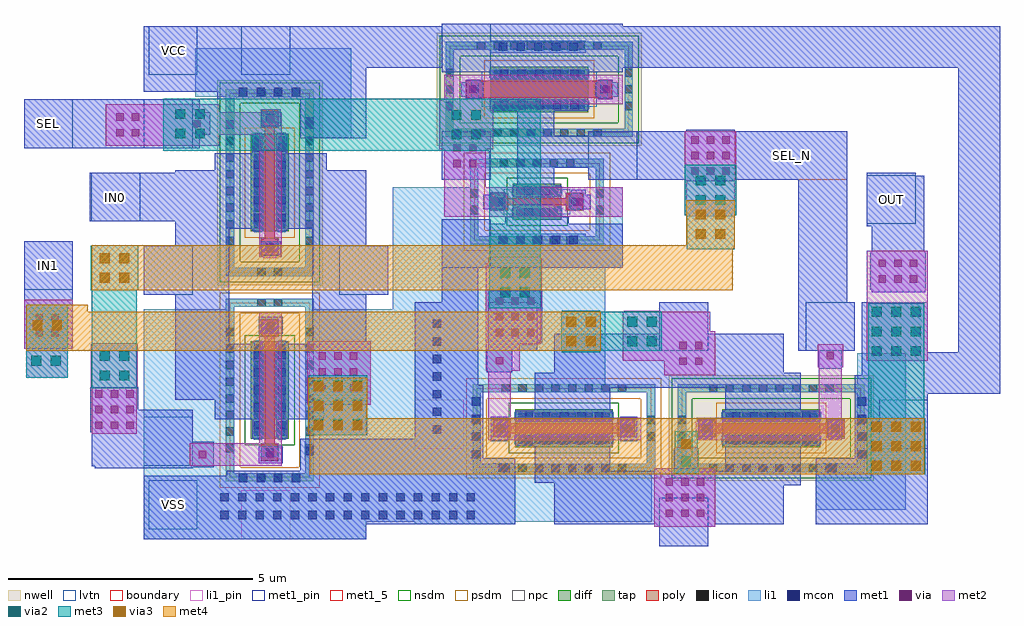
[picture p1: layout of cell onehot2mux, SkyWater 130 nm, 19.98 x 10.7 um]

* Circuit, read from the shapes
.subckt onehot2mux IN0 IN1 OUT SEL SEL_N VCC VSS
XM1 OUT SEL_N IN0 VSS sky130_fd_pr__nfet_01v8 w=2 l=0.2
XM2 SEL_N SEL VSS VSS sky130_fd_pr__nfet_01v8_lvt w=1 l=0.15
XM3 IN1 SEL OUT VSS sky130_fd_pr__nfet_01v8 w=2 l=0.2
XM4 OUT SEL IN0 VCC sky130_fd_pr__pfet_01v8 w=2 l=0.2
XM5 VCC SEL SEL_N VCC sky130_fd_pr__pfet_01v8_lvt w=2 l=0.35
XM6 IN1 SEL_N OUT VCC sky130_fd_pr__pfet_01v8 w=2 l=0.2
.ends

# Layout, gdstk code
from math import pi, radians
import gdstk
lib = gdstk.Library(unit=1e-6, precision=1e-09)
def R(c, l, rs):  # rectangles x0, y0, x1, y1
    for r in rs: c.add(gdstk.rectangle(r[:2], r[2:], *l))
def A(c, l, x, y, w, h, nx, ny, dx, dy):  # array of equal rectangles
    R(c, l, [(x+i*dx, y+j*dy, x+i*dx+w, y+j*dy+h) for i in range(nx) for j in range(ny)])
nwell = (64, 20)
diff = (65, 20)
tap = (65, 44)
poly = (66, 20)
licon = (66, 44)
li1_pin = (67, 16)
li1 = (67, 20)
mcon = (67, 44)
met1_5 = (68, 5)
met1_pin = (68, 16)
met1 = (68, 20)
via = (68, 44)
met2 = (69, 20)
via2 = (69, 44)
met3 = (70, 20)
via3 = (70, 44)
met4 = (71, 20)
nsdm = (93, 44)
psdm = (94, 20)
npc = (95, 20)
lvtn = (125, 44)
boundary = (235, 4)

sky130_fd_pr__pfet_01v8_ = lib.new_cell('sky130_fd_pr__pfet_01v8_SKB8XJ')
R(sky130_fd_pr__pfet_01v8_, nwell, [(-1.08,-2.095,1.08,2.095)])
R(sky130_fd_pr__pfet_01v8_, diff, [(-0.39,-1,0.39,1)])
R(sky130_fd_pr__pfet_01v8_, tap, [(-0.9,-1.915,0.9,-1.745), (-0.9,-1.745,-0.73,1.745), (0.73,-1.745,0.9,1.745), (-0.9,1.745,0.9,1.915)])
R(sky130_fd_pr__pfet_01v8_, poly, [(-0.165,-1.485,0.165,-1.155), (-0.1,-1.155,0.1,1.155), (-0.165,1.155,0.165,1.485)])
A(sky130_fd_pr__pfet_01v8_, licon, -0.9, -1.275, 0.17, 0.17, 1, 8, 0, 0.34)
A(sky130_fd_pr__pfet_01v8_, licon, 0.73, -1.275, 0.17, 0.17, 1, 8, 0, 0.34)
A(sky130_fd_pr__pfet_01v8_, licon, -0.33, -0.935, 0.17, 0.17, 1, 6, 0, 0.34)
A(sky130_fd_pr__pfet_01v8_, licon, 0.16, -0.935, 0.17, 0.17, 1, 6, 0, 0.34)
R(sky130_fd_pr__pfet_01v8_, licon, [(-0.255,-1.915,-0.085,-1.745), (0.085,-1.915,0.255,-1.745), (-0.085,-1.405,0.085,-1.235), (-0.085,1.235,0.085,1.405), (-0.255,1.745,-0.085,1.915), (0.085,1.745,0.255,1.915)])
R(sky130_fd_pr__pfet_01v8_, li1, [(-0.9,-1.915,0.9,-1.745), (-0.9,-1.745,-0.73,1.745), (0.73,-1.745,0.9,1.745), (-0.165,-1.405,0.165,-1.235), (-0.33,-1.02,-0.16,1.02), (0.16,-1.02,0.33,1.02), (-0.165,1.235,0.165,1.405), (-0.9,1.745,0.9,1.915)])
A(sky130_fd_pr__pfet_01v8_, mcon, -0.33, -0.805, 0.17, 0.17, 1, 5, 0, 0.36)
A(sky130_fd_pr__pfet_01v8_, mcon, 0.16, -0.805, 0.17, 0.17, 1, 5, 0, 0.36)
R(sky130_fd_pr__pfet_01v8_, mcon, [(-0.085,-1.405,0.085,-1.235), (-0.085,1.235,0.085,1.405)])
R(sky130_fd_pr__pfet_01v8_, met1, [(-0.145,-1.435,0.145,-1.205), (-0.36,-1,-0.13,1), (0.13,-1,0.36,1), (-0.145,1.205,0.145,1.435)])
R(sky130_fd_pr__pfet_01v8_, nsdm, [(-1.025,-2.04,1.025,-1.62), (-1.025,-1.62,-0.605,1.62), (0.605,-1.62,1.025,1.62), (-1.025,1.62,1.025,2.04)])
R(sky130_fd_pr__pfet_01v8_, psdm, [(-0.515,-1.125,0.515,1.125)])
R(sky130_fd_pr__pfet_01v8_, npc, [(-0.185,-1.505,0.185,-1.135), (-0.185,1.135,0.185,1.505)])
R(sky130_fd_pr__pfet_01v8_, boundary, [(-0.815,-1.83,0.815,1.83)])

sky130_fd_pr__nfet_01v8_ = lib.new_cell('sky130_fd_pr__nfet_01v8_Q7AWK3')
R(sky130_fd_pr__nfet_01v8_, diff, [(-0.39,-1,0.39,1)])
R(sky130_fd_pr__nfet_01v8_, tap, [(-0.9,-1.87,0.9,-1.7), (-0.9,-1.7,-0.73,1.7), (0.73,-1.7,0.9,1.7), (-0.9,1.7,0.9,1.87)])
R(sky130_fd_pr__nfet_01v8_, poly, [(-0.165,-1.44,0.165,-1.11), (-0.1,-1.11,0.1,1.11), (-0.165,1.11,0.165,1.44)])
A(sky130_fd_pr__nfet_01v8_, licon, -0.9, -1.275, 0.17, 0.17, 1, 8, 0, 0.34)
A(sky130_fd_pr__nfet_01v8_, licon, 0.73, -1.275, 0.17, 0.17, 1, 8, 0, 0.34)
A(sky130_fd_pr__nfet_01v8_, licon, -0.33, -0.935, 0.17, 0.17, 1, 6, 0, 0.34)
A(sky130_fd_pr__nfet_01v8_, licon, 0.16, -0.935, 0.17, 0.17, 1, 6, 0, 0.34)
R(sky130_fd_pr__nfet_01v8_, licon, [(-0.255,-1.87,-0.085,-1.7), (0.085,-1.87,0.255,-1.7), (-0.085,-1.36,0.085,-1.19), (-0.085,1.19,0.085,1.36), (-0.255,1.7,-0.085,1.87), (0.085,1.7,0.255,1.87)])
R(sky130_fd_pr__nfet_01v8_, li1, [(-0.9,-1.87,0.9,-1.7), (-0.9,-1.7,-0.73,1.7), (0.73,-1.7,0.9,1.7), (-0.165,-1.36,0.165,-1.19), (-0.33,-1.02,-0.16,1.02), (0.16,-1.02,0.33,1.02), (-0.165,1.19,0.165,1.36), (-0.9,1.7,0.9,1.87)])
A(sky130_fd_pr__nfet_01v8_, mcon, -0.33, -0.805, 0.17, 0.17, 1, 5, 0, 0.36)
A(sky130_fd_pr__nfet_01v8_, mcon, 0.16, -0.805, 0.17, 0.17, 1, 5, 0, 0.36)
R(sky130_fd_pr__nfet_01v8_, mcon, [(-0.085,-1.36,0.085,-1.19), (-0.085,1.19,0.085,1.36)])
R(sky130_fd_pr__nfet_01v8_, met1, [(-0.145,-1.39,0.145,-1.16), (-0.36,-1,-0.13,1), (0.13,-1,0.36,1), (-0.145,1.16,0.145,1.39)])
R(sky130_fd_pr__nfet_01v8_, nsdm, [(-0.515,-1.125,0.515,1.125)])
R(sky130_fd_pr__nfet_01v8_, psdm, [(-1.025,-1.995,1.025,-1.575), (-1.025,-1.575,-0.605,1.575), (0.605,-1.575,1.025,1.575), (-1.025,1.575,1.025,1.995)])
R(sky130_fd_pr__nfet_01v8_, npc, [(-0.185,-1.46,0.185,-1.09), (-0.185,1.09,0.185,1.46)])
R(sky130_fd_pr__nfet_01v8_, boundary, [(-0.815,-1.785,0.815,1.785)])

passgate = lib.new_cell('passgate')
R(passgate, li1_pin, [(13,-3.5,14,-2.5)])
R(passgate, li1, [(11,-3.5,15.55,-2.2), (12.3,-2.2,12.8,-1.15), (12.95,-2.2,14.2,-2.15), (14.35,-2.2,15.55,-1.9), (14.3,-1.9,15.55,-1.5), (14.35,-1.5,15.55,-1.45), (14.35,-1.45,14.85,-1.15), (14.4,4.7,15.25,4.85), (14.3,4.85,15.25,5.25), (14.4,5.25,15.25,5.55), (12.05,5.55,15.25,6.55)])
A(passgate, mcon, 12.95, -2.335, 0.17, 0.17, 4, 2, 0.36, 7.9)
R(passgate, mcon, [(14.315,-1.785,14.485,-1.615), (14.315,4.965,14.485,5.135)])
R(passgate, met1_pin, [(11,-2,12,-1), (11,1.5,12,2.5), (15,1.5,16,2.5), (11,4.5,12,5.5), (13,6,14,7)])
R(passgate, met1, [(11,-3.5,15.55,-2.2), (12.7,-2.2,15.55,-2.1), (14.2,-2.1,15.55,-1.45), (11.97,-2.03,12.435,-2), (11,-2,12.435,-1.505), (13.35,-1.95,13.85,-1.6), (11,-1.505,12,-1), (12.45,-1.05,13.45,-0.65), (13.7,-1.05,14.7,-0.65), (11.65,-0.65,13.45,0.5), (13.7,-0.65,15.55,0.5), (11.65,0.5,12.75,1.5), (14.45,0.5,15.55,1.5), (13.35,0.7,13.85,1.05), (11,1.5,12.75,2.5), (14.45,1.5,16,2.5), (13.4,2.3,13.8,2.6), (11.65,2.5,12.75,2.85), (14.45,2.5,15.55,2.85), (11.65,2.85,13.45,4.05), (13.75,2.85,15.55,4.05), (12.45,4.05,13.45,4.4), (13.75,4.05,14.75,4.4), (11,4.5,12,4.77), (14.2,4.7,15.55,5.5), (11,4.77,12.36,5.235), (13.4,4.95,13.8,5.25), (11,5.235,12,5.5), (12.5,5.5,15.55,5.65), (11,5.65,15.55,7)])
R(passgate, via, [(13.525,-1.85,13.675,-1.7), (12.125,-1.845,12.275,-1.695), (13.525,0.8,13.675,0.95), (13.525,2.375,13.675,2.525), (12.02,4.925,12.17,5.075), (13.525,5.025,13.675,5.175)])
R(passgate, met2, [(11.94,-2,13.83,-1.535), (13.365,-1.535,13.83,1.13), (13.45,2.25,13.75,2.27), (13.365,2.27,13.83,4.77), (11.865,4.74,12.33,4.77), (11.865,4.77,13.83,5.235), (11.865,5.235,12.33,5.265), (13.4,5.235,13.8,5.3)])
passgate.add(gdstk.Reference(sky130_fd_pr__pfet_01v8_, (13.58,3.795), rotation=pi))
passgate.add(gdstk.Reference(sky130_fd_pr__nfet_01v8_, (13.58,-0.45)))
passgate.add(gdstk.Label('A', (11.5,2), layer=68, texttype=5))
passgate.add(gdstk.Label('Z', (15.5,2), layer=68, texttype=5))
passgate.add(gdstk.Label('GP', (11.5,5), layer=68, texttype=5))
passgate.add(gdstk.Label('GN', (11.5,-1.5), layer=68, texttype=5))
passgate.add(gdstk.Label('VCCBPIN', (13.5,6.5), layer=68, texttype=5))
passgate.add(gdstk.Label('VSSBPIN', (13.5,-3), layer=67, texttype=5))

c_sky130_fd_pr__pfet_01v8_ = lib.new_cell('sky130_fd_pr__pfet_01v8_lvt_4QFWD3')
R(c_sky130_fd_pr__pfet_01v8_, nwell, [(-1.155,-2.095,1.155,2.095)])
R(c_sky130_fd_pr__pfet_01v8_, diff, [(-0.465,-1,0.465,1)])
R(c_sky130_fd_pr__pfet_01v8_, tap, [(-0.975,-1.915,0.975,-1.745), (-0.975,-1.745,-0.805,1.745), (0.805,-1.745,0.975,1.745), (-0.975,1.745,0.975,1.915)])
R(c_sky130_fd_pr__pfet_01v8_, poly, [(-0.175,-1.485,0.175,1.485)])
A(c_sky130_fd_pr__pfet_01v8_, licon, -0.425, -1.915, 0.17, 0.17, 3, 2, 0.34, 3.66)
A(c_sky130_fd_pr__pfet_01v8_, licon, -0.975, -1.275, 0.17, 0.17, 1, 8, 0, 0.34)
A(c_sky130_fd_pr__pfet_01v8_, licon, 0.805, -1.275, 0.17, 0.17, 1, 8, 0, 0.34)
A(c_sky130_fd_pr__pfet_01v8_, licon, -0.405, -0.935, 0.17, 0.17, 1, 6, 0, 0.34)
A(c_sky130_fd_pr__pfet_01v8_, licon, 0.235, -0.935, 0.17, 0.17, 1, 6, 0, 0.34)
R(c_sky130_fd_pr__pfet_01v8_, licon, [(-0.085,-1.405,0.085,-1.235), (-0.085,1.235,0.085,1.405)])
R(c_sky130_fd_pr__pfet_01v8_, li1, [(-0.975,-1.915,0.975,-1.745), (-0.975,-1.745,-0.805,1.745), (0.805,-1.745,0.975,1.745), (-0.175,-1.405,0.175,-1.235), (-0.405,-1.02,-0.235,1.02), (0.235,-1.02,0.405,1.02), (-0.175,1.235,0.175,1.405), (-0.975,1.745,0.975,1.915)])
A(c_sky130_fd_pr__pfet_01v8_, mcon, -0.405, -0.805, 0.17, 0.17, 1, 5, 0, 0.36)
A(c_sky130_fd_pr__pfet_01v8_, mcon, 0.235, -0.805, 0.17, 0.17, 1, 5, 0, 0.36)
R(c_sky130_fd_pr__pfet_01v8_, mcon, [(-0.085,-1.405,0.085,-1.235), (-0.085,1.235,0.085,1.405)])
R(c_sky130_fd_pr__pfet_01v8_, met1, [(-0.155,-1.435,0.155,-1.205), (-0.435,-1,-0.205,1), (0.205,-1,0.435,1), (-0.155,1.205,0.155,1.435)])
R(c_sky130_fd_pr__pfet_01v8_, nsdm, [(-1.1,-2.04,1.1,-1.62), (-1.1,-1.62,-0.68,1.62), (0.68,-1.62,1.1,1.62), (-1.1,1.62,1.1,2.04)])
R(c_sky130_fd_pr__pfet_01v8_, psdm, [(-0.59,-1.125,0.59,1.125)])
R(c_sky130_fd_pr__pfet_01v8_, npc, [(-0.185,-1.505,0.185,-1.135), (-0.185,1.135,0.185,1.505)])
R(c_sky130_fd_pr__pfet_01v8_, lvtn, [(-0.355,-1.18,0.355,1.18)])
R(c_sky130_fd_pr__pfet_01v8_, boundary, [(-0.89,-1.83,0.89,1.83)])

c_sky130_fd_pr__nfet_01v8_ = lib.new_cell('sky130_fd_pr__nfet_01v8_lvt_648S5X')
R(c_sky130_fd_pr__nfet_01v8_, diff, [(-0.365,-0.5,0.365,0.5)])
R(c_sky130_fd_pr__nfet_01v8_, tap, [(-0.875,-1.37,0.875,-1.2), (-0.875,-1.2,-0.705,1.2), (0.705,-1.2,0.875,1.2), (-0.875,1.2,0.875,1.37)])
R(c_sky130_fd_pr__nfet_01v8_, poly, [(-0.165,-0.94,0.165,-0.61), (-0.075,-0.61,0.075,0.61), (-0.165,0.61,0.165,0.94)])
A(c_sky130_fd_pr__nfet_01v8_, licon, -0.875, -0.765, 0.17, 0.17, 1, 5, 0, 0.34)
A(c_sky130_fd_pr__nfet_01v8_, licon, 0.705, -0.765, 0.17, 0.17, 1, 5, 0, 0.34)
A(c_sky130_fd_pr__nfet_01v8_, licon, -0.305, -0.425, 0.17, 0.17, 1, 3, 0, 0.34)
A(c_sky130_fd_pr__nfet_01v8_, licon, 0.135, -0.425, 0.17, 0.17, 1, 3, 0, 0.34)
R(c_sky130_fd_pr__nfet_01v8_, licon, [(-0.255,-1.37,-0.085,-1.2), (0.085,-1.37,0.255,-1.2), (-0.085,-0.86,0.085,-0.69), (-0.085,0.69,0.085,0.86), (-0.255,1.2,-0.085,1.37), (0.085,1.2,0.255,1.37)])
R(c_sky130_fd_pr__nfet_01v8_, li1, [(-0.875,-1.37,0.875,-1.2), (-0.875,-1.2,-0.705,1.2), (0.705,-1.2,0.875,1.2), (-0.165,-0.86,0.165,-0.69), (-0.305,-0.52,-0.135,0.52), (0.135,-0.52,0.305,0.52), (-0.165,0.69,0.165,0.86), (-0.875,1.2,0.875,1.37)])
R(c_sky130_fd_pr__nfet_01v8_, mcon, [(-0.085,-0.86,0.085,-0.69), (-0.305,-0.265,-0.135,-0.095), (0.135,-0.265,0.305,-0.095), (-0.305,0.095,-0.135,0.265), (0.135,0.095,0.305,0.265), (-0.085,0.69,0.085,0.86)])
R(c_sky130_fd_pr__nfet_01v8_, met1, [(-0.145,-0.89,0.145,-0.66), (-0.335,-0.5,-0.105,0.5), (0.105,-0.5,0.335,0.5), (-0.145,0.66,0.145,0.89)])
R(c_sky130_fd_pr__nfet_01v8_, nsdm, [(-0.49,-0.625,0.49,0.625)])
R(c_sky130_fd_pr__nfet_01v8_, psdm, [(-1,-1.495,1,-1.075), (-1,-1.075,-0.58,1.075), (0.58,-1.075,1,1.075), (-1,1.075,1,1.495)])
R(c_sky130_fd_pr__nfet_01v8_, npc, [(-0.185,-0.96,0.185,-0.59), (-0.185,0.59,0.185,0.96)])
R(c_sky130_fd_pr__nfet_01v8_, lvtn, [(-0.255,-0.68,0.255,0.68)])
R(c_sky130_fd_pr__nfet_01v8_, boundary, [(-0.79,-1.285,0.79,1.285)])

lvtnot = lib.new_cell('lvtnot')
R(lvtnot, li1, [(7.1,1.7,10.8,2.3), (7.1,2.3,7.8,3.35), (8.1,2.3,10.05,2.4), (10.35,2.3,10.8,3.35), (8.1,6.1,10.05,6.35)])
A(lvtnot, mcon, 8.27, 2.19, 0.17, 0.17, 5, 2, 0.36, 3.95)
R(lvtnot, met1_pin, [(7.1,1.7,8.1,2.7), (7.1,3.5,8.1,4.5), (10.1,3.5,11.1,4.5), (7.1,5.7,8.1,6.7)])
R(lvtnot, met1, [(7.1,1.7,10.8,2.6), (7.1,2.6,8.1,2.7), (8.4,2.6,9.7,2.75), (8.55,2.75,9.5,2.8), (8.6,2.8,9.5,2.9), (7.95,2.9,8.4,3.2), (8.7,2.9,9.4,3), (9.7,2.9,10.15,3.2), (8.65,3.15,9.4,3.75), (8.1,3.2,8.4,3.25), (9.75,3.2,10.05,3.3), (7.1,3.5,8.1,4.5), (10.1,3.5,11.1,3.75), (8.65,3.75,11.1,4.4), (8.65,4.4,9.4,5.15), (10.1,4.4,11.1,4.5), (7.6,5.15,7.9,5.2), (10.3,5.15,10.6,5.2), (7.5,5.2,7.95,5.5), (10.25,5.2,10.7,5.5), (7.6,5.5,7.9,5.55), (10.3,5.5,10.6,5.55), (7.1,5.7,10.8,6.7)])
R(lvtnot, via, [(8.1,2.975,8.25,3.125), (9.85,2.975,10,3.125), (7.34,3.765,7.49,3.915), (7.66,3.765,7.81,3.915), (7.34,4.085,7.49,4.235), (7.66,4.085,7.81,4.235), (7.65,5.275,7.8,5.425), (10.4,5.275,10.55,5.425)])
R(lvtnot, met2, [(7.15,2.75,10.8,3.35), (7.15,3.35,8,5.05), (7.15,5.05,10.8,5.65)])
lvtnot.add(gdstk.Reference(c_sky130_fd_pr__pfet_01v8_, (9.095,5.355), rotation=3*pi/2))
lvtnot.add(gdstk.Reference(c_sky130_fd_pr__nfet_01v8_, (9.05,3.055), rotation=pi/2))
lvtnot.add(gdstk.Label('a', (7.6,4), layer=68, texttype=5))
lvtnot.add(gdstk.Label('y', (10.6,4), layer=68, texttype=5))
lvtnot.add(gdstk.Label('VCCPIN', (7.6,6.2), layer=68, texttype=5))
lvtnot.add(gdstk.Label('VSSPIN', (7.6,2.2), layer=68, texttype=5))

onehot2mux = lib.new_cell('onehot2mux')
R(onehot2mux, li1, [(-0.3,9.4,10.1,10.3), (-0.3,10.3,1.45,13.75), (3.1,10.3,10.1,10.55), (3.1,10.55,6.5,12.1), (3.1,12.1,9.15,13.75), (4.8,13.75,9.15,15.2), (4.8,15.2,6.5,16.25)])
A(onehot2mux, mcon, 1.27, 9.46, 0.17, 0.17, 15, 2, 0.36, 0.36)
A(onehot2mux, mcon, 5.615, 11.21, 0.17, 0.17, 1, 7, 0, 0.36)
R(onehot2mux, met1_5, [(11.8,16.4,14.1,17.4)])
R(onehot2mux, met1_pin, [(-0.2,9.25,0.8,10.25), (-2.75,14.15,-1.75,15.15), (14.5,15.5,15.5,16.5), (-1.37,15.55,-0.37,16.55), (-2.75,17.05,-1.75,18.05), (-0.2,18.55,0.8,19.55)])
R(onehot2mux, met1, [(-0.2,9.25,0.8,10.25), (10.15,9.3,11.4,10.5), (3.95,9.35,6.35,9.45), (1.15,9.45,6.6,10), (3.95,10,6.35,11.1), (14.675,10.075,15.525,12.025), (-1.3,10.5,0.7,10.54), (-1.36,10.54,0.7,11.24), (5.45,11.1,5.95,13.7), (-1.39,11.24,0.7,11.7), (-1.39,11.7,-0.41,12.16), (3.05,11.8,4.35,13.1), (14.675,12.025,17.225,12.875), (10.5,12.45,11.3,12.48), (10.5,12.48,12.22,13.22), (16.375,12.875,17.225,18.7), (13.1,12.9,14.1,16.4), (-2.75,12.95,-1.75,15.15), (6.74,13.07,7.86,14.13), (10.5,13.22,11.3,13.25), (5.8,13.7,6.55,15), (14.6,14.1,15.7,14.15), (14.57,14.15,15.705,14.925), (14.6,14.925,15.675,15.45), (14.5,15.45,15.675,16.485), (-1.4,15.55,1.2,16.55), (10.8,16.37,11.8,16.4), (8.8,16.4,14.1,17.4), (14.5,16.485,15.5,16.55), (-2.75,17.05,0.85,18.05), (10.8,17.4,11.8,17.43), (-0.2,18.55,0.8,19.55), (3.1,18.7,17.225,19.55)])
A(onehot2mux, via, 10.38, 9.505, 0.15, 0.15, 3, 3, 0.32, 0.32)
A(onehot2mux, via, -1.295, 11.305, 0.15, 0.15, 3, 3, 0.32, 0.32)
A(onehot2mux, via, 3.28, 12.08, 0.15, 0.15, 3, 3, 0.32, 0.32)
A(onehot2mux, via, 6.905, 13.205, 0.15, 0.15, 3, 3, 0.32, 0.32)
A(onehot2mux, via, 14.74, 14.3, 0.15, 0.15, 3, 2, 0.32, 0.32)
A(onehot2mux, via, 10.905, 16.505, 0.15, 0.15, 3, 3, 0.32, 0.32)
R(onehot2mux, via, [(10.665,12.615,10.815,12.765), (10.985,12.615,11.135,12.765), (10.665,12.935,10.815,13.085), (10.985,12.935,11.135,13.085), (-2.51,13.19,-2.36,13.34), (-2.19,13.19,-2.04,13.34), (-2.51,13.51,-2.36,13.66), (-2.19,13.51,-2.04,13.66), (-0.86,17.29,-0.71,17.44), (-0.54,17.29,-0.39,17.44), (-0.86,17.61,-0.71,17.76), (-0.54,17.61,-0.39,17.76)])
R(onehot2mux, met2, [(10.15,9.3,11.4,10.5), (10.57,10.5,11.035,10.925), (3.1,11.18,4.25,11.8), (-1.36,11.21,-0.44,12.165), (3.05,11.8,4.35,13.1), (-1.38,12.165,-0.42,13.035), (-2.7,12.35,-1.85,12.95), (10.35,12.4,11.4,12.7), (6.7,12.5,7.4,13.04), (9.5,12.7,11.4,13.3), (14.5,12.7,15.75,14.95), (-2.75,12.95,-1.75,13.95), (-1.36,13.035,-0.44,13.06), (6.7,13.04,7.83,13.795), (9.5,13.3,11.3,13.7), (9.525,13.7,10.275,13.72), (6.7,13.795,7.85,14.7), (6.75,14.7,7.85,14.805), (6.77,14.805,7.83,14.83), (14.6,14.95,15.675,14.955), (10.8,15.655,11.8,16.4), (10.77,16.4,11.83,17.4), (5.75,17.025,6.85,18.035), (-1.075,17.1,1.25,17.95)])
A(onehot2mux, via2, 3.175, 11.3, 0.2, 0.2, 3, 3, 0.4, 0.4)
A(onehot2mux, via2, 14.6, 12.8, 0.2, 0.2, 3, 3, 0.4, 0.4)
R(onehot2mux, via2, [(10.7,10.545,10.9,10.745), (-1.2,12.3,-1,12.5), (-0.8,12.3,-0.6,12.5), (-2.6,12.6,-2.4,12.8), (-2.2,12.6,-2,12.8), (-1.2,12.7,-1,12.9), (-0.8,12.7,-0.6,12.9), (9.6,13,9.8,13.2), (10,13,10.2,13.2), (9.6,13.4,9.8,13.6), (10,13.4,10.2,13.6), (7,14,7.2,14.2), (7.4,14,7.6,14.2), (7,14.4,7.2,14.6), (7.4,14.4,7.6,14.6), (11,15.89,11.2,16.09), (11.4,15.89,11.6,16.09), (11,16.29,11.2,16.49), (11.4,16.29,11.6,16.49), (6,17.23,6.2,17.43), (6.4,17.23,6.6,17.43), (0.35,17.25,0.55,17.45), (0.75,17.25,0.95,17.45), (6,17.63,6.2,17.83), (6.4,17.63,6.6,17.83), (0.35,17.65,0.55,17.85), (0.75,17.65,0.95,17.85)])
R(onehot2mux, met3, [(14.525,10.375,15.675,10.38), (14.5,10.38,15.7,11.52), (10.545,10.39,11.06,10.905), (10.57,10.905,11.035,11.26), (3.075,11.17,4.275,12.4), (14.525,11.52,15.675,13.875), (-1.36,12.14,-0.44,14.145), (-2.7,12.35,-1.85,13.85), (8.255,12.875,9.045,12.9), (8.25,12.9,10.3,13.7), (8.255,13.7,9.045,13.725), (6.77,13.77,7.83,17), (-1.385,14.145,-0.415,15.055), (10.81,14.98,11.795,15.675), (-1.36,15.055,-0.44,15.06), (10.775,15.675,11.825,16.71), (0.1,17,7.83,18.06)])
A(onehot2mux, via3, 14.6, 10.45, 0.2, 0.2, 3, 3, 0.4, 0.4)
A(onehot2mux, via3, 3.175, 11.275, 0.2, 0.2, 3, 3, 0.4, 0.4)
R(onehot2mux, via3, [(10.7,10.895,10.9,11.095), (8.35,13,8.55,13.2), (8.75,13,8.95,13.2), (-2.575,13.325,-2.375,13.525), (-2.175,13.325,-1.975,13.525), (8.35,13.4,8.55,13.6), (8.75,13.4,8.95,13.6), (-1.2,14.3,-1,14.5), (-0.8,14.3,-0.6,14.5), (-1.2,14.7,-1,14.9), (-0.8,14.7,-0.6,14.9), (11,15.195,11.2,15.395), (11.4,15.195,11.6,15.395), (11,15.595,11.2,15.795), (11.4,15.595,11.6,15.795)])
R(onehot2mux, met4, [(3.1,10.375,15.675,11.195), (3.07,11.195,15.675,11.525), (3.07,11.525,4.28,12.355), (-2.7,12.9,9.05,13.7), (-2.7,13.7,-1.45,13.85), (-1.36,14.14,11.76,15.005), (-1.36,15.005,11.8,15.06), (10.805,15.06,11.8,15.985)])
onehot2mux.add(gdstk.Reference(passgate, (-11.3,12.55)))
onehot2mux.add(gdstk.Reference(passgate, (8.75,24.9), rotation=3*pi/2))
onehot2mux.add(gdstk.Reference(lvtnot, (-1.3,12.9)))
onehot2mux.add(gdstk.Label('SEL_N', (12.95,16.9), layer=68, texttype=5))
onehot2mux.add(gdstk.Label('SEL', (-2.25,17.55), layer=68, texttype=5))
onehot2mux.add(gdstk.Label('IN0', (-0.87,16.05), layer=68, texttype=5))
onehot2mux.add(gdstk.Label('IN1', (-2.25,14.65), layer=68, texttype=5))
onehot2mux.add(gdstk.Label('OUT', (15,16), layer=68, texttype=5))
onehot2mux.add(gdstk.Label('VCC', (0.3,19.05), layer=68, texttype=5))
onehot2mux.add(gdstk.Label('VSS', (0.3,9.75), layer=68, texttype=5))

lib.write_gds('onehot2mux.gds')
